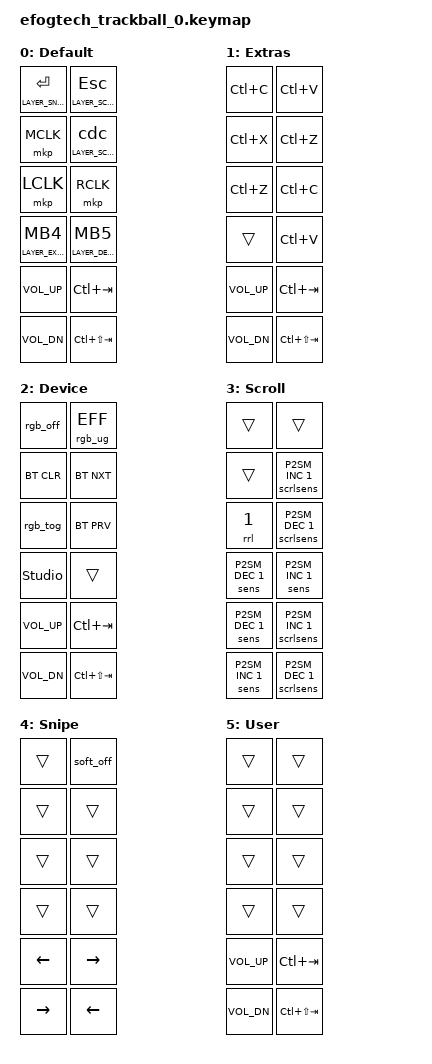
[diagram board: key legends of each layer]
#include <behaviors.dtsi>
#include <dt-bindings/zmk/bt.h>
#include <dt-bindings/zmk/keys.h>
#include <dt-bindings/zmk/pointing.h>
#include <dt-bindings/zmk/outputs.h>
#include <dt-bindings/zmk/p2sm.h>
#include <dt-bindings/zmk/rgb.h>
#include <dt-bindings/zmk/ext_power.h>
#include <input/processors.dtsi>
#include <behaviors/input_gestures_accel.dtsi>

#define LAYER_DEFAULT      0
#define LAYER_EXTRAS       1
#define LAYER_DEVICE       2
#define LAYER_SCROLL       3
#define LAYER_SNIPE        4
#define LAYER_USER         5

#define TWIST_MULTIPLIER   1
#define TWIST_DIVISOR      10

#define SCROLL_MULTIPLIER  1
#define SCROLL_DIVISOR     1

#define SNIPE_MULTIPLIER   1
#define SNIPE_DIVISOR      4

#define Y_MULTIPLIER       2
#define Y_DIVISOR          3

&pointer_accel {
    input-type = <INPUT_EV_REL>;
    // track-remainders;
    min-factor = <1>;
    max-factor = <2000>;
    speed-threshold = <15000>;
    speed-max = <60000>;
    acceleration-exponent = <1>;
};

/ {
	keymap {
		compatible = "zmk,keymap";

		default_layer {
			display-name = "Default";
			DECLARE_ENCODERS;
			bindings = <
				// buttons
				&ltmkp LAYER_SNIPE ENTER  &ltmkp LAYER_SCROLL ESC
				&mkp MCLK                 &cdch LAYER_SCROLL 0
				&mkp LCLK                 &mkp RCLK
				&ltm LAYER_EXTRAS MB4     &ltm LAYER_DEVICE MB5

				// rotary encoders
				&kp C_VOL_UP              &kp LC(TAB)
				&kp C_VOL_DN              &kp LC(LS(TAB))
			>;
		};

		layer2 {
			display-name = "Extras";
			DECLARE_ENCODERS;
			bindings = <
				&kp LC(C)      &kp LC(V)
				&kp LC(X)      &kp LC(Z)
				&kp LC(Z)      &kp LC(C)
				&trans         &kp LC(V)

				&kp C_VOL_UP   &kp LC(TAB)
				&kp C_VOL_DN   &kp LC(LS(TAB))
			>;
		};

		layer3 {
			display-name = "Device";
			DECLARE_ENCODERS;
			bindings = <
				&rgb_off           &rgb_ug RGB_EFF
				&bt BT_CLR         &bt BT_NXT
				&rgb_tog           &bt BT_PRV
				&studio_unlock     &trans

				&kp C_VOL_UP       &kp LC(TAB)
				&kp C_VOL_DN       &kp LC(LS(TAB))
			>;
		};

		layer4 {
			display-name = "Scroll";
			DECLARE_ENCODERS;
			bindings = <
			    &trans              &trans
			    &trans              &scrlsens P2SM_INC 1
			    &rrl 1              &scrlsens P2SM_DEC 1
			    &sens P2SM_DEC 1    &sens P2SM_INC 1

				&sens P2SM_DEC 1    &scrlsens P2SM_INC 1
				&sens P2SM_INC 1    &scrlsens P2SM_DEC 1
			>;
		};

		layer5 {
			display-name = "Snipe";
			DECLARE_ENCODERS;
			bindings = <
				&trans           &soft_off
				&trans           &trans
				&trans           &trans
				&trans           &trans

				&kp LEFT         &kp RIGHT
				&kp RIGHT        &kp LEFT
			>;
		};

		layer6 {
			display-name = "User";
			DECLARE_ENCODERS;
			bindings = <
				&trans        &trans
				&trans        &trans
				&trans        &trans
				&trans        &trans

				&kp C_VOL_UP  &kp LC(TAB)
				&kp C_VOL_DN  &kp LC(LS(TAB))
		    >;
		};
	};

	behaviors {
		cdch: click-double-click-hold {
			compatible = "zmk,behavior-hold-tap";
			display-name = "Copy/paste/layer (click/double-click/hold)";
			#binding-cells = <2>;
			flavor = "tap-preferred";
			tapping-term-ms = <325>;
			bindings = <&mo>, <&cdc>;
		};

		cdc: click-double-click {
			compatible = "zmk,behavior-tap-dance";
			display-name = "Copy/paste (click/double-click)";
			#binding-cells = <0>;
			tapping-term-ms = <300>;
			bindings = <&kp LC(C)>, <&kp LC(V)>;
		};
	};

	trackball {
		input-processors = <&zip_scroll_scaler TWIST_MULTIPLIER TWIST_DIVISOR>,
						   <&pointer_accel>, <&zip_scroll_accel>,
						   <&zip_rotate_pointer>, <&zip_rotate_scroll>,
						   <&zip_y_scaler Y_MULTIPLIER Y_DIVISOR>,
		                   <&zip_ble_report_rate_limit>;

		scroll {
			layers = <LAYER_SCROLL>;
			input-processors = <&zip_xy_scaler SCROLL_MULTIPLIER SCROLL_DIVISOR>, <&pointer_accel>,
							   <&zip_axis_clamper>,
							   <&zip_xy_to_scroll_mapper>, <&zip_scroll_transform INPUT_TRANSFORM_Y_INVERT>,
							   <&zip_rotate_scroll>, <&zip_ble_report_rate_limit>;
		};

		snipe {
			layers = <LAYER_SNIPE>;
			input-processors = <&zip_xy_scaler SNIPE_MULTIPLIER SNIPE_DIVISOR>,
							   <&zip_rotate_pointer>, <&zip_rotate_scroll>, <&zip_ble_report_rate_limit>;
		};
	};

	behaviors {
		rrl {
			values-ms = <0 1 2 4 6 8>;
		};
	};

	macros {
		scroll_down: scroll_down {
			compatible = "zmk,behavior-macro";
			display-name = "Scroll down";
			#binding-cells = <0>;
			wait-ms = <2>;
			bindings = <&msc MOVE_Y(-2000)>;
		};

		scroll_up: scroll_up {
			compatible = "zmk,behavior-macro";
			display-name = "Scroll up";
			#binding-cells = <0>;
			wait-ms = <2>;
			bindings = <&msc MOVE_Y(2000)>;
		};

		scroll_left: scroll_left {
			compatible = "zmk,behavior-macro";
			display-name = "Scroll left";
			#binding-cells = <0>;
			wait-ms = <2>;
			bindings = <&msc MOVE_X(-2000)>;
		};

		scroll_right: scroll_right {
			compatible = "zmk,behavior-macro";
			display-name = "Scroll right";
			#binding-cells = <0>;
			wait-ms = <2>;
			bindings = <&msc MOVE_X(2000)>;
		};

		rgb_tog: rgb_tog {
			compatible = "zmk,behavior-macro";
			display-name = "Toggle RGB";
			#binding-cells = <0>;
			wait-ms = <20>;
			bindings
			= <&rgb_ug RGB_TOG>
			, <&ext_power EP_TOG>
			;
		};

		rgb_off: rgb_off {
			compatible = "zmk,behavior-macro";
			display-name = "RGB off";
			#binding-cells = <0>;
			wait-ms = <20>;
			bindings
			= <&ext_power EP_OFF>
			, <&rgb_ug RGB_OFF>
			;
		};
	};
};
